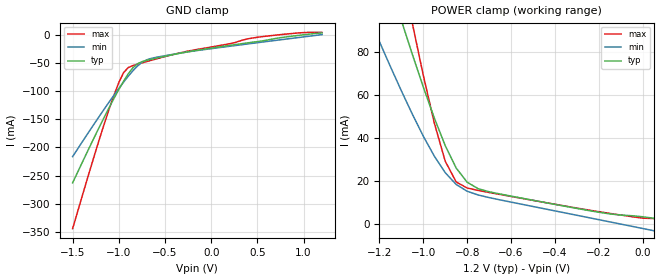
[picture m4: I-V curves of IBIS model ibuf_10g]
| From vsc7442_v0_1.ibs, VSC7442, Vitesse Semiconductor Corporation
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|   Model ibuf_10g
[Model]   ibuf_10g
Model_type   Input
Polarity   Non-Inverting
Vinl =   0.700V
Vinh =   1.100V
C_comp   0.088pF   0.081pF   0.099pF
[Temperature Range]   55.00   125   -40.00
[Voltage Range]   1.20V   1.14V   1.26V
[GND_clamp]
| voltage   I(typ)   I(min)   I(max)
-1.5V     -262.9mA   -216.3mA   -344.3mA
-1.25V    -176.9mA   -154.1mA   -206.4mA
-1.1V     -127.8mA   -118.2mA   -129.5mA
-1V       -97.08mA   -95.3mA    -84.7mA
-950mV    -82.79mA   -84.38mA   -67.64mA
-900mV    -69.77mA   -73.96mA   -58.37mA
-800mV    -51.6mA    -55.74mA   -52.24mA
-700mV    -45.4mA    -44.53mA   -47.57mA
-600mV    -41.69mA   -40.09mA   -43.03mA
450mV     -13.09mA   -15.04mA   -5.574mA
950mV     -902.9uA   -4.727mA   3.407mA
1.2V      3.4mA      398.3uA    4.32mA
[POWER_clamp]
| voltage   I(typ)   I(min)   I(max)
-1.5V     228.7mA    157.4mA    334.1mA
-1.25V    143.7mA    96.51mA    197.6mA
-1.2V     127.1mA    84.73mA    170.9mA
-1.1V     94.58mA    61.9mA     118.6mA
-1.05V    78.84mA    51.06mA    93.29mA
-950mV    49.33mA    31.58mA    47.04mA
-900mV    36.43mA    23.86mA    29.21mA
-850mV    26.01mA    18.38mA    19.53mA
-800mV    19.42mA    15.23mA    16.73mA
-700mV    14.99mA    12.29mA    14.65mA
-200mV    5.492mA    2.036mA    5.73mA
50mV      2.696mA    -3.087mA   2.567mA
